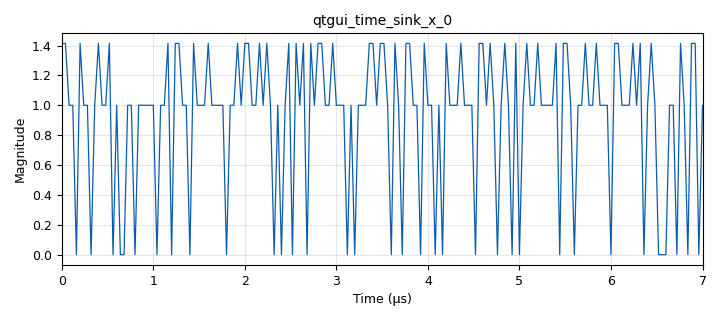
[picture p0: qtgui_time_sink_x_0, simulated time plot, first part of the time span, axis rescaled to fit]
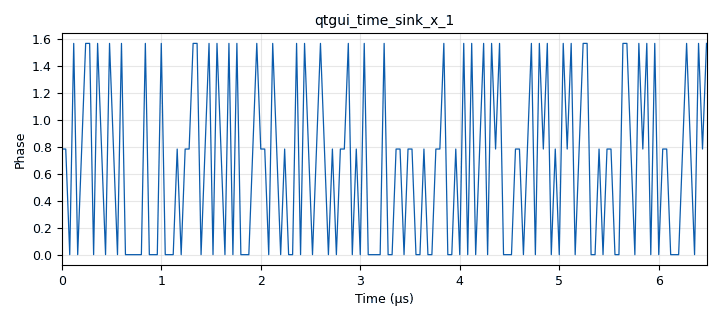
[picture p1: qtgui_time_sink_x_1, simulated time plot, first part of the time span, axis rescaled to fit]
options:
  parameters:
    generate_options: qt_gui
    id: CSI_GNU_TX
    output_language: python
    title: CSI
  states: {}

blocks:
- name: samp_rate
  id: variable
  parameters:
    value: 25e6
  states: {}
- name: analog_random_source_x_0
  id: analog_random_source_x
  parameters:
    max: '2'
    min: '0'
    num_samps: int(samp_rate)
    repeat: 'True'
    type: byte
  states: {}
- name: blocks_complex_to_magphase_0
  id: blocks_complex_to_magphase
  parameters: {}
  states: {}
- name: blocks_interleaved_char_to_complex_0
  id: blocks_interleaved_char_to_complex
  parameters:
    scale_factor: '1.0'
    vector_input: 'False'
  states: {}
- name: blocks_throttle2_0
  id: blocks_throttle2
  parameters:
    samples_per_second: samp_rate
    type: complex
  states: {}
- name: qtgui_time_sink_x_0
  id: qtgui_time_sink_x
  parameters:
    size: '1024'
    srate: samp_rate
    type: float
    ylabel: Magnitude
  states: {}
- name: qtgui_time_sink_x_1
  id: qtgui_time_sink_x
  parameters:
    size: '1024'
    srate: samp_rate
    type: float
    ylabel: Phase
  states: {}
- name: uhd_usrp_sink_0
  id: uhd_usrp_sink
  parameters:
    ant0: '"TX/RX"'
    bw0: 25e6
    center_freq0: 3435e6
    dev_args: '"serial=3255B9C"'
    gain0: '30'
    samp_rate: samp_rate
    sync: pc_clock
    type: fc32
  states: {}

connections:
- [analog_random_source_x_0, '0', blocks_interleaved_char_to_complex_0, '0']
- [blocks_complex_to_magphase_0, '0', qtgui_time_sink_x_0, '0']
- [blocks_complex_to_magphase_0, '1', qtgui_time_sink_x_1, '0']
- [blocks_interleaved_char_to_complex_0, '0', blocks_throttle2_0, '0']
- [blocks_throttle2_0, '0', blocks_complex_to_magphase_0, '0']
- [blocks_throttle2_0, '0', uhd_usrp_sink_0, '0']

metadata:
  file_format: 1
  grc_version: 3.10.7.0
